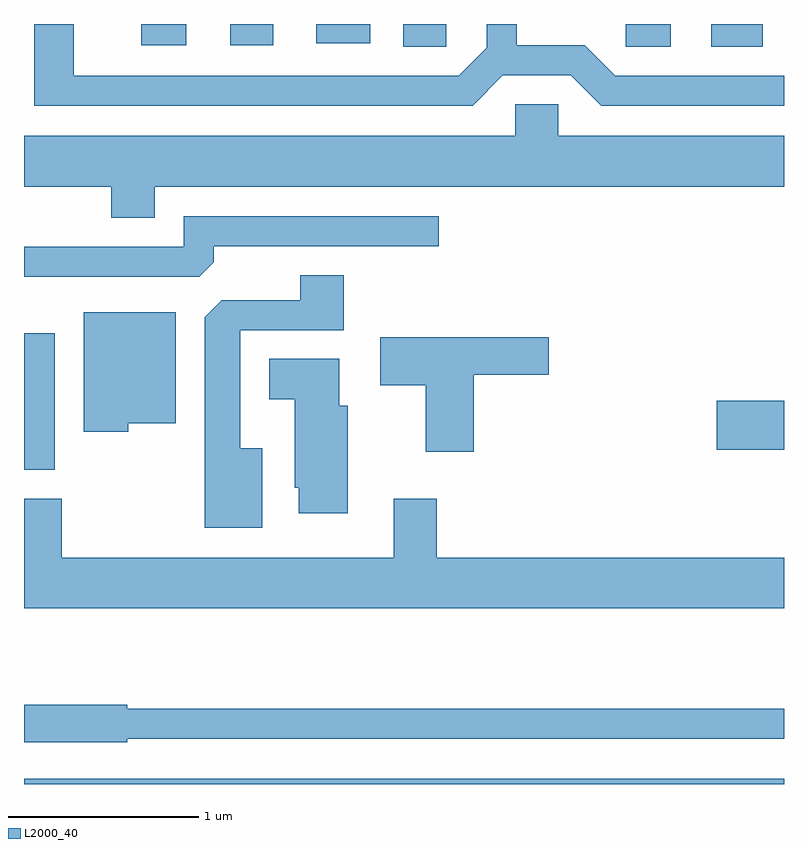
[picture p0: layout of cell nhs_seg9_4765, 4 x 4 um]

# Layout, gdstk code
import gdstk
lib = gdstk.Library(unit=1e-6, precision=1e-09)
def R(c, l, rs):  # rectangles x0, y0, x1, y1
    for r in rs: c.add(gdstk.rectangle(r[:2], r[2:], *l))
def P(c, l, *ps):  # polygons
    for p in ps: c.add(gdstk.Polygon(p, *l))
L2000_40 = (2000, 40)

nhs_seg9_4765 = lib.new_cell('nhs_seg9_4765')
R(nhs_seg9_4765, L2000_40, [(325.611,2006.432,329.611,2006.459), (325.611,2008.086,325.774,2008.804), (329.256,2008.191,329.611,2008.449), (327.606,2010.311,327.834,2010.432), (328.778,2010.311,329.014,2010.432), (329.228,2010.311,329.499,2010.432), (326.228,2010.321,326.464,2010.432), (326.696,2010.321,326.924,2010.432), (327.148,2010.331,327.434,2010.432)])
P(nhs_seg9_4765, L2000_40, [(328.132,2010.161),(328.489,2010.161),(328.649,2010.001),(329.611,2010.001),(329.611,2010.159),(328.722,2010.159),(328.562,2010.319),(328.204,2010.319),(328.204,2010.432),(328.046,2010.432),(328.046,2010.307),(327.899,2010.159),(325.874,2010.159),(325.874,2010.432),(325.666,2010.432),(325.666,2010.001),(327.972,2010.001)],
  [(326.299,2009.576),(329.611,2009.576),(329.611,2009.844),(328.424,2009.844),(328.424,2010.009),(328.196,2010.009),(328.196,2009.844),(325.611,2009.844),(325.611,2009.576),(326.071,2009.576),(326.071,2009.411),(326.299,2009.411)],
  [(326.609,2009.177),(326.609,2009.261),(327.793,2009.261),(327.793,2009.419),(326.451,2009.419),(326.451,2009.259),(325.611,2009.259),(325.611,2009.101),(326.534,2009.101)],
  [(326.864,2008.199),(326.749,2008.199),(326.749,2008.821),(327.294,2008.821),(327.294,2009.109),(327.066,2009.109),(327.066,2008.979),(326.652,2008.979),(326.561,2008.889),(326.561,2007.781),(326.864,2007.781)],
  [(326.159,2008.331),(326.409,2008.331),(326.409,2008.914),(325.926,2008.914),(325.926,2008.286),(326.159,2008.286)],
  [(327.979,2008.586),(328.374,2008.586),(328.374,2008.784),(327.486,2008.784),(327.486,2008.531),(327.726,2008.531),(327.726,2008.181),(327.979,2008.181)],
  [(327.314,2008.424),(327.269,2008.424),(327.269,2008.669),(326.901,2008.669),(326.901,2008.456),(327.036,2008.456),(327.036,2007.991),(327.056,2007.991),(327.056,2007.856),(327.314,2007.856)],
  [(329.611,2007.624),(327.784,2007.624),(327.784,2007.934),(327.556,2007.934),(327.556,2007.624),(325.809,2007.624),(325.809,2007.934),(325.611,2007.934),(325.611,2007.356),(329.611,2007.356)],
  [(326.154,2006.671),(329.611,2006.671),(329.611,2006.829),(326.154,2006.829),(326.154,2006.849),(325.611,2006.849),(325.611,2006.651),(326.154,2006.651)])

lib.write_gds('nhs_seg9_4765.gds')
